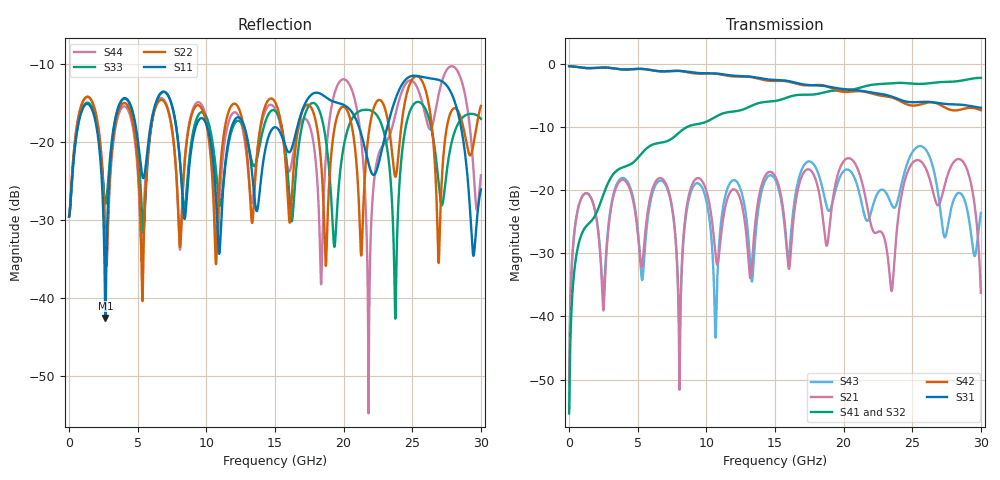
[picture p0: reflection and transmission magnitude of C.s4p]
!diffpair-meanders C (U-bend, sparse tuning (2 excursions) next to the bend), mesh fine
!ports 1 P_near 2 N_near 3 P_far 4 N_far; openEMS FDTD, lumped 50 ohm ports
# Hz S RI R 50.0
! Port[1] = P_near
! Port[2] = N_near
! Port[3] = P_far
! Port[4] = N_far
!freq ReS11 ImS11 ReS12 ImS12 ReS13 ImS13
! ReS14 ImS14
! ReS21 ImS21 ReS22 ImS22 ReS23 ImS23
! ReS24 ImS24
! ReS31 ImS31 ReS32 ImS32 ReS33 ImS33
! ReS34 ImS34
! ReS41 ImS41 ReS42 ImS42 ReS43 ImS43
! ReS44 ImS44
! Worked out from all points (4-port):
!   3000 points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, 10 MHz to 30 GHz, reference 50 ohm
!   strongest paths, dB at 10 MHz, 7.51 GHz, 15.01 GHz, 22.51 GHz, 30 GHz:
!     S31: -0.4, -1.2, -2.6, -4.7, -7.0
!     S42: -0.4, -1.1, -2.7, -5.0, -7.4
!     S41: -55.3, -11.8, -5.9, -3.2, -2.2
!     S32: -55.3, -11.8, -6.0, -3.4, -2.3
!     S21: -54.5, -22.7, -17.8, -26.6, -36.3
!     S43: -54.5, -22.9, -18.3, -20.4, -23.6
!   lowest |S11| = -42.5 dB at 2.65 GHz (marker M1), VSWR 1.02, Z = 49.3 - j0.239 ohm
!   |S11| at or under -10 dB: start of sweep to end of sweep
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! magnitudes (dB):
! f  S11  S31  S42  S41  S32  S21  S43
! 10 MHz  -29.6  -0.4  -0.4  -55.3  -55.3  -54.5  -54.5
! 870 MHz  -16.4  -0.6  -0.6  -27.3  -27.2  -21.4  -21.4
! 2.65 GHz  -42.5  -0.6  -0.6  -19.9  -19.9  -33.0  -31.8
! 4.04 GHz  -14.4  -0.9  -0.9  -16.3  -16.6  -18.5  -18.2
! 21.83 GHz  -22.9  -4.5  -4.6  -3.4  -3.5  -23.8  -24.6
! 23.76 GHz  -14.6  -5.4  -5.5  -3.0  -2.8  -29.3  -22.7
! 30 GHz  -26.1  -7.0  -7.4  -2.2  -2.3  -36.3  -23.6
